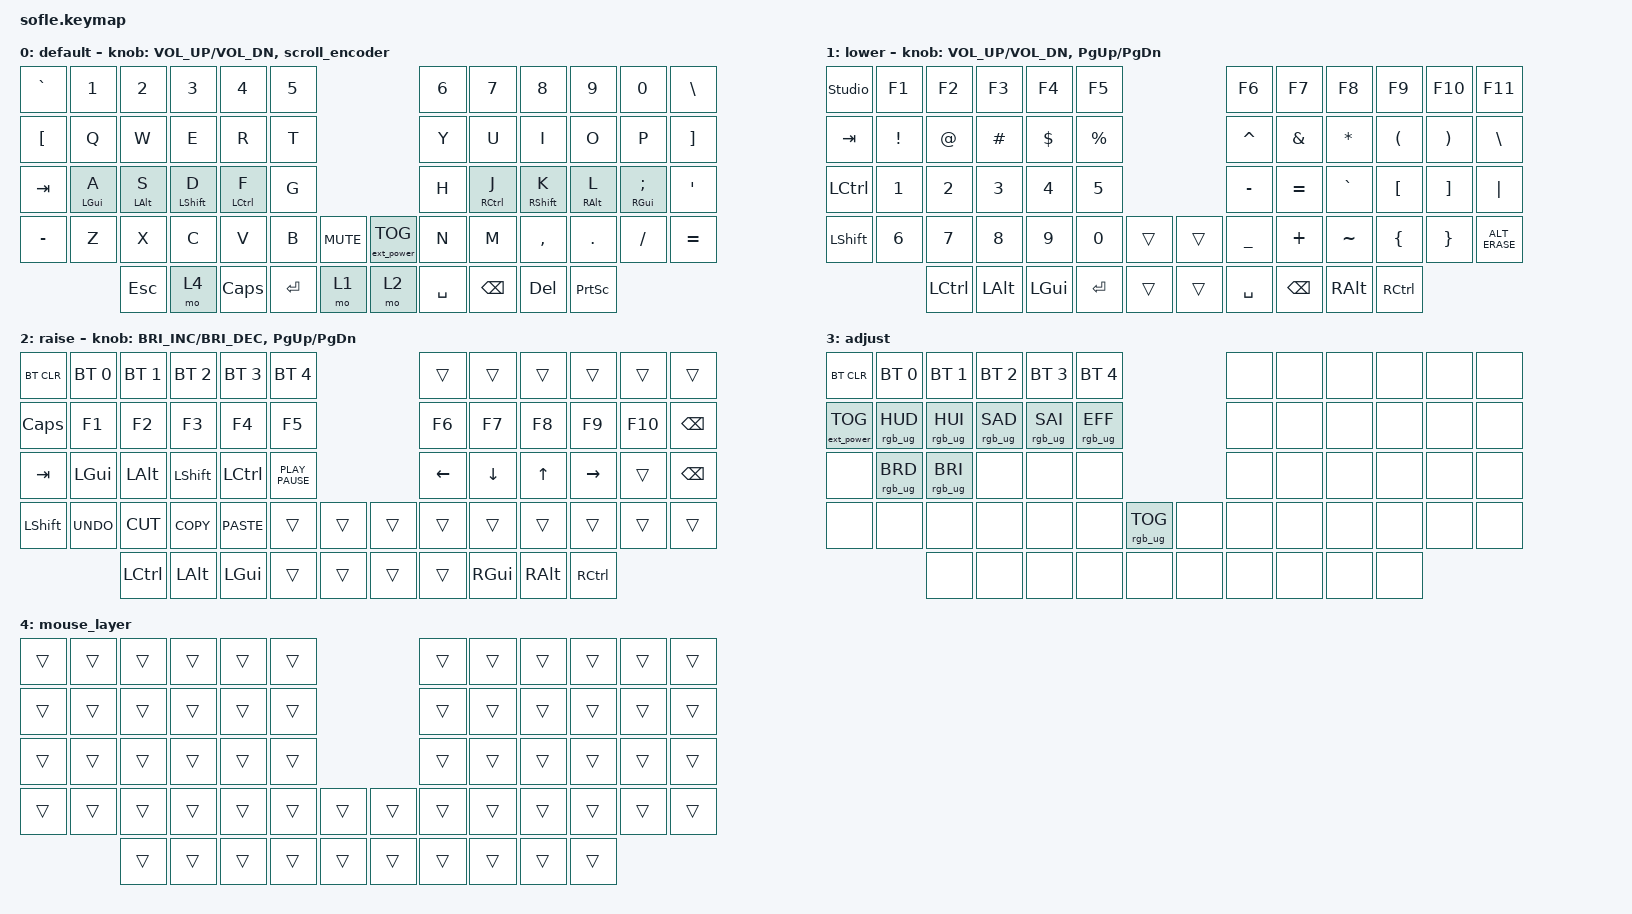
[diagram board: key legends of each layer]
/*
 * Copyright (c) 2020 The ZMK Contributors
 *
 * SPDX-License-Identifier: MIT
 */

#define ZMK_POINTING_DEFAULT_MOVE_VAL 1200  // 600
#define ZMK_POINTING_DEFAULT_SCRL_VAL 25   // 10

#include <behaviors.dtsi>
#include <dt-bindings/zmk/bt.h>
#include <dt-bindings/zmk/ext_power.h>
#include <dt-bindings/zmk/keys.h>
#include <dt-bindings/zmk/pointing.h>
#include <dt-bindings/zmk/rgb.h>

#define BASE 0
#define LOWER 1
#define RAISE 2
#define ADJUST 3

&msc {
    acceleration-exponent = <1>;      // 0
    time-to-max-speed-ms = <100>;       // 300
    delay-ms = <0>;                   // 0
};

&mmv {
    time-to-max-speed-ms = <500>;
    acceleration-exponent = <1>;
    trigger-period-ms = <16>;
};

/ {
    scroll_encoder: scroll_encoder {
        compatible = "zmk,behavior-sensor-rotate";
        #sensor-binding-cells = <0>;
        bindings = <&msc SCRL_DOWN>, <&msc SCRL_UP>;

        tap-ms = <100>;
    };

    hm: hm {
        compatible = "zmk,behavior-hold-tap";
        label = "HM";
        bindings = <&kp>, <&kp>;

        #binding-cells = <2>;
        tapping-term-ms = <285>;
        quick-tap-ms = <0>;
        require-prior-idle-ms = <155>;
    };

    // Activate ADJUST layer by pressing raise and lower

    conditional_layers {
        compatible = "zmk,conditional-layers";

        adjust_layer {
            if-layers = <LOWER RAISE>;
            then-layer = <ADJUST>;
        };
    };

    behaviors {
    };

    keymap {
        compatible = "zmk,keymap";

        default_layer {
            display-name = "default";

            // ------------------------------------------------------------------------------------------------------------
            // |  ESC  |  1  |  2  |  3   |  4   |  5   |                   |  6   |  7    |  8    |  9   |   0   | BKSPC |
            // |  TAB  |  Q  |  W  |  E   |  R   |  T   |                   |  Y   |  U    |  I    |  O   |   P   | DEL   |
            // | SHIFT |  A  |  S  |  D   |  F   |  G   |                   |  H   |  J    |  K    |  L   |   ;   |   '   |
            // |  CTRL |  Z  |  X  |  C   |  V   |  B   |  MUTE  |  |       |  N   |  M    |  ,    |  .   |   /   | SHIFT |
            //               | GUI | ALT  | CTRL | LOWER|  ENTER |  | SPACE | RAISE| CTRL  | ALT   | GUI  |

            bindings = <
&kp GRAVE  &kp N1      &kp N2          &kp N3            &kp N4        &kp N5                                      &kp N6     &kp N7         &kp N8             &kp N9           &kp N0         &kp BACKSLASH
&kp LBKT   &kp Q       &kp W           &kp E             &kp R         &kp T                                       &kp Y      &kp U          &kp I              &kp O            &kp P          &kp RIGHT_BRACKET
&kp TAB    &hm LGUI A  &hm LEFT_ALT S  &hm LEFT_SHIFT D  &hm LCTRL F   &kp G                                       &kp H      &hm RCTRL J    &hm RIGHT_SHIFT K  &hm RIGHT_ALT L  &hm RGUI SEMI  &kp SQT
&kp MINUS  &kp Z       &kp X           &kp C             &kp V         &kp B      &kp C_MUTE    &ext_power EP_TOG  &kp N      &kp M          &kp COMMA          &kp DOT          &kp FSLH       &kp EQUAL
                       &kp ESCAPE      &mo 4             &kp CAPSLOCK  &kp ENTER  &mo 1         &mo 2              &kp SPACE  &kp BACKSPACE  &kp DEL            &kp PSCRN
            >;

            sensor-bindings = <&inc_dec_kp C_VOL_UP C_VOL_DN &scroll_encoder>;
        };

        arrow_layer {
            display-name = "lower";

            // TODO: Some binds are waiting for shifted keycode support.
            // ------------------------------------------------------------------------------------------------------------
            // |       |  F1 |  F2 |  F3  |  F4  |  F5  |                   |  F6  |  F7   |  F8   |  F9  |  F10  |  F11  |
            // |   `   |  1  |  2  |  3   |  4   |  5   |                   |  6   |  7    |  8    |  9   |   0   |  F12  |
            // |       |  !  |  @  |  #   |  $   |  %   |                   |  ^   |  &    |  *    |  (   |   )   |   |   |
            // |       |  =  |  -  |  +   |  {   |  }   |        |  |       |  [   |  ]    |  ;    |  :   |   \   |       |
            //               |     |      |      |      |        |  |       |      |       |       |      |

            bindings = <
&studio_unlock  &kp F1    &kp F2       &kp F3        &kp F4        &kp F5                         &kp F6          &kp F7         &kp F8         &kp F9                &kp F10                &kp F11
&kp TAB         &kp EXCL  &kp AT_SIGN  &kp HASH      &kp DOLLAR    &kp PERCENT                    &kp CARET       &kp AMPERSAND  &kp ASTERISK   &kp LEFT_PARENTHESIS  &kp RIGHT_PARENTHESIS  &kp BACKSLASH
&kp LCTRL       &kp N1    &kp N2       &kp N3        &kp NUMBER_4  &kp N5                         &kp MINUS       &kp EQUAL      &kp GRAVE      &kp LEFT_BRACKET      &kp RIGHT_BRACKET      &kp PIPE
&kp LEFT_SHIFT  &kp N6    &kp N7       &kp N8        &kp N9        &kp N0       &trans    &trans  &kp UNDERSCORE  &kp PLUS       &kp TILDE      &kp LEFT_BRACE        &kp RIGHT_BRACE        &kp ALT_ERASE
                          &kp LCTRL    &kp LEFT_ALT  &kp LEFT_GUI  &kp ENTER    &trans    &trans  &kp SPACE       &kp BACKSPACE  &kp RIGHT_ALT  &kp RIGHT_CONTROL
            >;

            sensor-bindings = <&inc_dec_kp C_VOL_UP C_VOL_DN &inc_dec_kp PG_UP PG_DN>;
        };

        raise_layer {
            display-name = "raise";

            // ------------------------------------------------------------------------------------------------------------
            // | BTCLR | BT1  | BT2  |  BT3  |  BT4  |  BT5 |                |      |      |       |      |       |       |
            // |       | INS  | PSCR | GUI   |       |      |                | PGUP |      |   ^   |      |       |       |
            // |       | ALT  | CTRL | SHIFT |       | CAPS |                | PGDN |   <- |   v   |  ->  |  DEL  | BKSPC |
            // |       | UNDO | CUT  | COPY  | PASTE |      |      |  |      |      |      |       |      |       |       |
            //                |      |       |       |      |      |  |      |      |      |       |      |

            bindings = <
&bt BT_CLR      &bt BT_SEL 0  &bt BT_SEL 1  &bt BT_SEL 2    &bt BT_SEL 3  &bt BT_SEL 4                        &trans          &trans          &trans         &trans             &trans   &trans
&kp CAPSLOCK    &kp F1        &kp F2        &kp F3          &kp F4        &kp F5                              &kp F6          &kp F7          &kp F8         &kp F9             &kp F10  &kp BACKSPACE
&kp TAB         &kp LEFT_GUI  &kp LEFT_ALT  &kp LEFT_SHIFT  &kp LCTRL     &kp K_PLAY_PAUSE                    &kp LEFT_ARROW  &kp DOWN_ARROW  &kp UP_ARROW   &kp RIGHT          &trans   &kp BSPC
&kp LEFT_SHIFT  &kp K_UNDO    &kp K_CUT     &kp K_COPY      &kp K_PASTE   &trans            &trans    &trans  &trans          &trans          &trans         &trans             &trans   &trans
                              &kp LCTRL     &kp LEFT_ALT    &kp LGUI      &trans            &trans    &trans  &trans          &kp RIGHT_GUI   &kp RIGHT_ALT  &kp RIGHT_CONTROL
            >;

            sensor-bindings =
                <&inc_dec_kp C_BRIGHTNESS_INC C_BRIGHTNESS_DEC>,
                <&inc_dec_kp PG_UP PG_DN>;
        };

        adjust_layer {
            // ----------------------------------------------------------------------------------------------------------------------------
            // | BTCLR  |  BT1    |  BT2    |   BT3   |   BT4   |   BT5   |                  |      |      |       |      |       |       |
            // | EXTPWR | RGB_HUD | RGB_HUI | RGB_SAD | RGB_SAI | RGB_EFF |                  |      |      |       |      |       |       |
            // |        | RGB_BRD | RGB_BRI |         |         |         |                  |      |      |       |      |       |       |
            // |        |         |         |         |         |         | RGB_TOG | |      |      |      |       |      |       |       |
            //                    |         |         |         |         |         | |      |      |      |       |      |

            display-name = "adjust";
            bindings = <
&bt BT_CLR         &bt BT_SEL 0     &bt BT_SEL 1     &bt BT_SEL 2     &bt BT_SEL 3     &bt BT_SEL 4                               &none  &none  &none  &none  &none  &none
&ext_power EP_TOG  &rgb_ug RGB_HUD  &rgb_ug RGB_HUI  &rgb_ug RGB_SAD  &rgb_ug RGB_SAI  &rgb_ug RGB_EFF                            &none  &none  &none  &none  &none  &none
&none              &rgb_ug RGB_BRD  &rgb_ug RGB_BRI  &none            &none            &none                                      &none  &none  &none  &none  &none  &none
&none              &none            &none            &none            &none            &none            &rgb_ug RGB_TOG    &none  &none  &none  &none  &none  &none  &none
                                    &none            &none            &none            &none            &none              &none  &none  &none  &none  &none
            >;
        };

        mouse_layer {
            bindings = <
&trans  &trans  &trans  &trans  &trans  &trans                    &trans  &trans  &trans  &trans  &trans  &trans
&trans  &trans  &trans  &trans  &trans  &trans                    &trans  &trans  &trans  &trans  &trans  &trans
&trans  &trans  &trans  &trans  &trans  &trans                    &trans  &trans  &trans  &trans  &trans  &trans
&trans  &trans  &trans  &trans  &trans  &trans  &trans    &trans  &trans  &trans  &trans  &trans  &trans  &trans
                &trans  &trans  &trans  &trans  &trans    &trans  &trans  &trans  &trans  &trans
            >;
        };
    };
};
